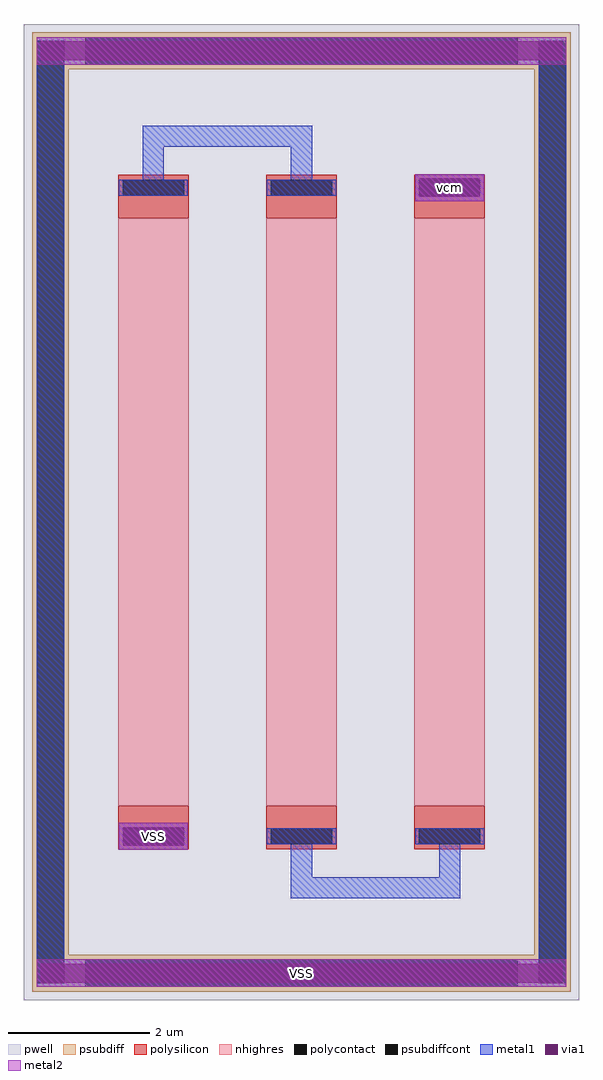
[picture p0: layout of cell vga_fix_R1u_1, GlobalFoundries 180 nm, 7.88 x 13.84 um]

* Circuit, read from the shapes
.subckt vga_fix_R1u_1 VSS vcm
XR1 n1 VSS VSS ppolyf_u_1k r_width=1u r_length=8.335u
XR2 n1 n2 VSS ppolyf_u_1k r_width=1u r_length=8.335u
XR3 vcm n2 VSS ppolyf_u_1k r_width=1u r_length=8.335u
.ends

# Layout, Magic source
magic
tech gf180mcuD
magscale 1 10
<< pwell >>
rect -368 -464 1208 2303
<< psubdiff >>
rect -344 -440 1184 -336
rect -344 2175 1184 2279
rect -344 -336 -240 2175
rect 1080 -336 1184 2175
<< polysilicon >>
rect -100 1753 100 1875
rect -100 -36 100 86
rect 320 1753 520 1875
rect 320 -36 520 86
rect 740 1753 940 1875
rect 740 -36 940 86
<< nhighres >>
rect -100 86 100 1753
rect 320 86 520 1753
rect 740 86 940 1753
<< psubdiffcont >>
rect -331 -416 -253 2255
rect 1093 -416 1171 2255
rect -193 2188 1033 2266
rect -193 -427 1033 -349
<< polycontact >>
rect -87 1816 87 1862
rect -87 -23 87 23
rect 333 1816 507 1862
rect 333 -23 507 23
rect 753 1816 927 1862
rect 753 -23 927 23
<< metal1 >>
rect -98 1816 98 1862
rect -98 -23 98 23
rect 322 1816 518 1862
rect 322 -23 518 23
rect 742 1816 938 1862
rect 742 -23 938 23
rect -98 -38 98 38
rect -30 1816 30 2015
rect 390 1816 450 2015
rect -30 1955 450 2015
rect 390 -176 450 23
rect 810 -176 870 23
rect 390 -176 870 -116
rect 742 1801 938 1877
rect -331 -427 1171 -349
rect -331 2188 1171 2266
rect -331 -427 -253 2266
rect 1093 -427 1171 2266
rect -331 -427 1171 -349
rect -331 2188 1171 2266
<< metal2 >>
rect -98 -38 98 38
rect 742 1801 938 1877
rect -331 -427 1171 -349
rect -331 2188 1171 2266
<< via1 >>
rect -86 -26 86 26
rect 754 1813 926 1865
rect -319 -415 1159 -361
rect -319 2200 1159 2254
<< labels >>
flabel metal2 s -98 -38 98 38 0 FreeSans 80 0 0 0 VSS
port 1 nsew signal bidirectional
flabel metal2 s 742 1801 938 1877 0 FreeSans 80 0 0 0 vcm
port 2 nsew signal bidirectional
flabel metal2 s -331 -427 1171 -349 0 FreeSans 80 0 0 0 VSS
port 1 nsew signal bidirectional
<< end >>
